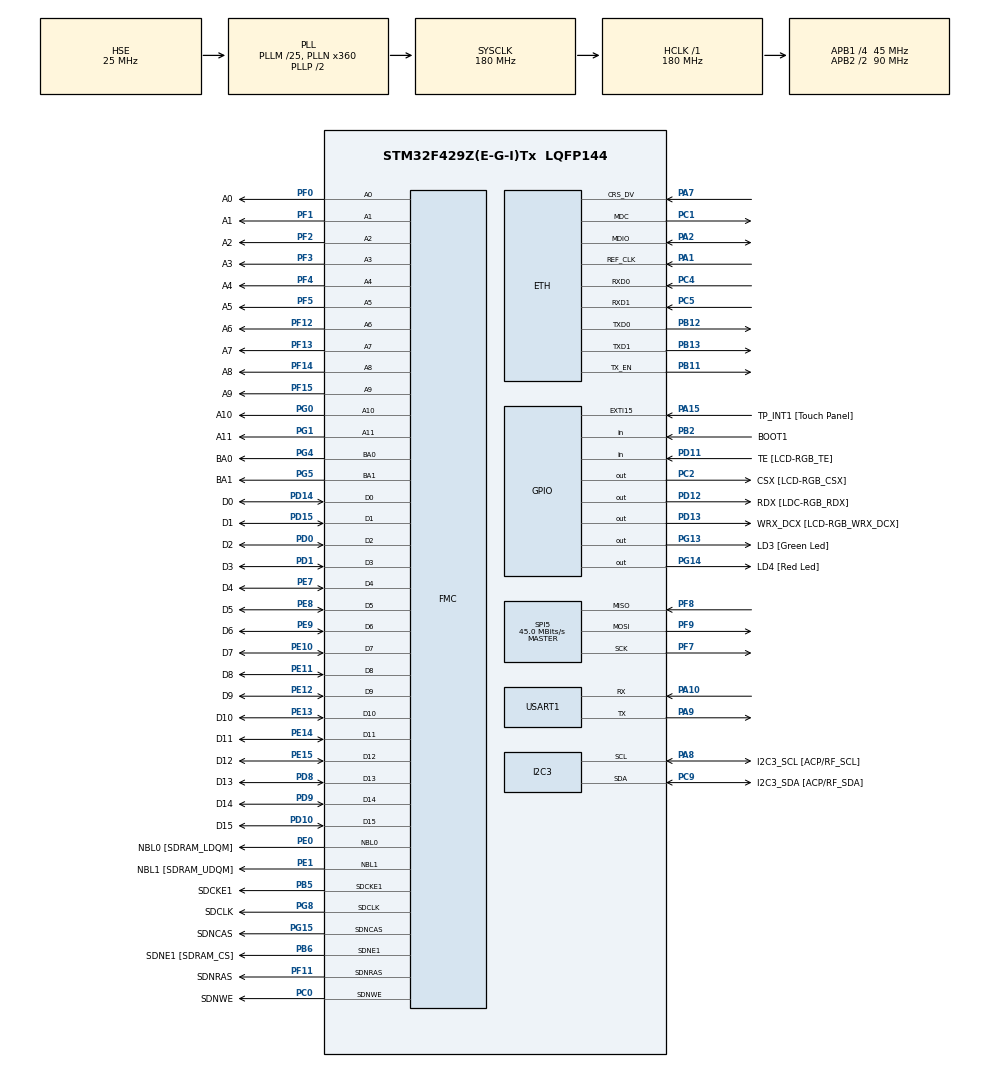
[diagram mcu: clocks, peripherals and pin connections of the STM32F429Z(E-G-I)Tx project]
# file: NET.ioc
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Dma.I2C3_RX.0.Direction=DMA_PERIPH_TO_MEMORY
Dma.I2C3_RX.0.FIFOMode=DMA_FIFOMODE_DISABLE
Dma.I2C3_RX.0.Instance=DMA1_Stream2
Dma.I2C3_RX.0.MemDataAlignment=DMA_MDATAALIGN_BYTE
Dma.I2C3_RX.0.MemInc=DMA_MINC_ENABLE
Dma.I2C3_RX.0.Mode=DMA_NORMAL
Dma.I2C3_RX.0.PeriphDataAlignment=DMA_PDATAALIGN_BYTE
Dma.I2C3_RX.0.PeriphInc=DMA_PINC_DISABLE
Dma.I2C3_RX.0.Priority=DMA_PRIORITY_VERY_HIGH
Dma.I2C3_TX.1.Direction=DMA_MEMORY_TO_PERIPH
Dma.I2C3_TX.1.FIFOMode=DMA_FIFOMODE_DISABLE
Dma.I2C3_TX.1.Instance=DMA1_Stream4
Dma.I2C3_TX.1.MemDataAlignment=DMA_MDATAALIGN_BYTE
Dma.I2C3_TX.1.MemInc=DMA_MINC_ENABLE
Dma.I2C3_TX.1.Mode=DMA_NORMAL
Dma.I2C3_TX.1.PeriphDataAlignment=DMA_PDATAALIGN_BYTE
Dma.I2C3_TX.1.PeriphInc=DMA_PINC_DISABLE
Dma.I2C3_TX.1.Priority=DMA_PRIORITY_VERY_HIGH
Dma.Request0=I2C3_RX
Dma.Request1=I2C3_TX
ETH.AutoNegotiation=ETH_AUTONEGOTIATION_ENABLE
ETH.ChecksumMode=ETH_CHECKSUM_BY_HARDWARE
ETH.MACAddr=02\:00\:00\:00\:00\:00
ETH.MediaInterface=ETH_MEDIA_INTERFACE_RMII
ETH.PHY_CONFIG_DELAY=0x00FFFFFF
ETH.PHY_DUPLEX_STATUS=0x0010
ETH.PHY_Name_RMII=userPHY
ETH.PHY_RESET_DELAY=0x00FFFFFF
ETH.PHY_SPEED_STATUS=0x0004
ETH.PHY_SR=0x1f
ETH.PHY_User_Name=LAN8720A_PHY_ADDRESS
LWIP.CHECKSUM_BY_HARDWARE=1
LWIP.CHECKSUM_GEN_ICMP=0
LWIP.GATEWAY_ADDRESS=192.168.001.001
LWIP.IP_ADDRESS=192.168.001.010
LWIP.LWIP_BROADCAST_PING=1
LWIP.LWIP_CHECKSUM_CTRL_PER_NETIF=0
LWIP.LWIP_DHCP=0
LWIP.LWIP_MULTICAST_PING=1
LWIP.LWIP_NETIF_LINK_CALLBACK=1
LWIP.LWIP_NETIF_STATUS_CALLBACK=1
LWIP.NETMASK_ADDRESS=255.255.255.000
LWIP.Version=v2.0.0_Cube
Mcu.Family=STM32F4
Mcu.Name=STM32F429Z(E-G-I)Tx
Mcu.Package=LQFP144
NVIC.DMA1_Stream2_IRQn=true\:0\:0\:false\:false\:true\:false
NVIC.DMA1_Stream4_IRQn=true\:0\:0\:false\:false\:true\:false
NVIC.PriorityGroup=NVIC_PRIORITYGROUP_2
PA1.Mode=RMII
PA1.Signal=ETH_REF_CLK
PA10.Mode=Asynchronous
PA10.Signal=USART1_RX
PA13.GPIO_Label=SWDIO
PA13.Mode=Serial_Wire
PA13.Signal=SYS_JTMS-SWDIO
PA14.GPIO_Label=SWCLK
PA14.Mode=Serial_Wire
PA14.Signal=SYS_JTCK-SWCLK
PA15.GPIO_Label=TP_INT1 [Touch Panel]
PA15.GPIO_ModeDefaultEXTI=GPIO_MODE_EVT_RISING
PA15.GPIO_PuPd=GPIO_NOPULL
PA15.Signal=GPXTI15
PA2.Mode=RMII
PA2.Signal=ETH_MDIO
PA7.Mode=RMII
PA7.Signal=ETH_CRS_DV
PA8.GPIO_Label=I2C3_SCL [ACP/RF_SCL]
PA8.GPIO_Mode=GPIO_MODE_AF_OD
PA8.GPIO_PuPd=GPIO_NOPULL
PA8.GPIO_Speed=GPIO_SPEED_FREQ_LOW
PA8.Mode=I2C
PA8.Signal=I2C3_SCL
PA9.Mode=Asynchronous
PA9.Signal=USART1_TX
PB11.Mode=RMII
PB11.Signal=ETH_TX_EN
PB12.Mode=RMII
PB12.Signal=ETH_TXD0
PB13.Mode=RMII
PB13.Signal=ETH_TXD1
PB2/BOOT1.GPIO_Label=BOOT1
PB2/BOOT1.GPIO_Mode=GPIO_MODE_INPUT
PB2/BOOT1.GPIO_PuPd=GPIO_NOPULL
PB2/BOOT1.Signal=GPIO_Input
PB5.GPIO_Label=SDCKE1
PB5.GPIO_Mode=GPIO_MODE_AF_PP
PB5.GPIO_PuPd=GPIO_NOPULL
PB5.GPIO_Speed=GPIO_SPEED_FREQ_VERY_HIGH
PB5.Mode=SdramChipSelect2_1
PB5.Signal=FMC_SDCKE1
PB6.GPIO_Label=SDNE1 [SDRAM_CS]
PB6.GPIO_Mode=GPIO_MODE_AF_PP
PB6.GPIO_PuPd=GPIO_NOPULL
PB6.GPIO_Speed=GPIO_SPEED_FREQ_VERY_HIGH
PB6.Mode=SdramChipSelect2_1
PB6.Signal=FMC_SDNE1
PC0.GPIO_Label=SDNWE
PC0.GPIO_Mode=GPIO_MODE_AF_PP
PC0.GPIO_PuPd=GPIO_NOPULL
PC0.GPIO_Speed=GPIO_SPEED_FREQ_VERY_HIGH
PC0.Signal=FMC_SDNWE
PC1.Mode=RMII
PC1.Signal=ETH_MDC
PC2.GPIO_Label=CSX [LCD-RGB_CSX]
PC2.GPIO_Mode=GPIO_MODE_OUTPUT_PP
PC2.GPIO_PuPd=GPIO_NOPULL
PC2.GPIO_Speed=GPIO_SPEED_FREQ_LOW
PC2.Signal=GPIO_Output
PC4.Mode=RMII
PC4.Signal=ETH_RXD0
PC5.Mode=RMII
PC5.Signal=ETH_RXD1
PC9.GPIO_Label=I2C3_SDA [ACP/RF_SDA]
PC9.GPIO_Mode=GPIO_MODE_AF_OD
PC9.GPIO_PuPd=GPIO_NOPULL
PC9.GPIO_Speed=GPIO_SPEED_FREQ_LOW
PC9.Mode=I2C
PC9.Signal=I2C3_SDA
PD0.GPIO_Label=D2
PD0.GPIO_Mode=GPIO_MODE_AF_PP
PD0.GPIO_PuPd=GPIO_NOPULL
PD0.GPIO_Speed=GPIO_SPEED_FREQ_VERY_HIGH
PD0.Signal=FMC_D2_DA2
PD1.GPIO_Label=D3
PD1.GPIO_Mode=GPIO_MODE_AF_PP
PD1.GPIO_PuPd=GPIO_NOPULL
PD1.GPIO_Speed=GPIO_SPEED_FREQ_VERY_HIGH
PD1.Signal=FMC_D3_DA3
PD10.GPIO_Label=D15
PD10.GPIO_Mode=GPIO_MODE_AF_PP
PD10.GPIO_PuPd=GPIO_NOPULL
PD10.GPIO_Speed=GPIO_SPEED_FREQ_VERY_HIGH
PD10.Signal=FMC_D15_DA15
PD11.GPIO_Label=TE [LCD-RGB_TE]
PD11.GPIO_Mode=GPIO_MODE_INPUT
PD11.GPIO_PuPd=GPIO_NOPULL
PD11.Signal=GPIO_Input
PD12.GPIO_Label=RDX [LDC-RGB_RDX]
PD12.GPIO_Mode=GPIO_MODE_OUTPUT_PP
PD12.GPIO_PuPd=GPIO_NOPULL
PD12.GPIO_Speed=GPIO_SPEED_FREQ_LOW
PD12.Signal=GPIO_Output
PD13.GPIO_Label=WRX_DCX [LCD-RGB_WRX_DCX]
PD13.GPIO_Mode=GPIO_MODE_OUTPUT_PP
PD13.GPIO_PuPd=GPIO_NOPULL
PD13.GPIO_Speed=GPIO_SPEED_FREQ_LOW
PD13.Signal=GPIO_Output
PD14.GPIO_Label=D0
PD14.GPIO_Mode=GPIO_MODE_AF_PP
PD14.GPIO_PuPd=GPIO_NOPULL
PD14.GPIO_Speed=GPIO_SPEED_FREQ_VERY_HIGH
PD14.Signal=FMC_D0_DA0
PD15.GPIO_Label=D1
PD15.GPIO_Mode=GPIO_MODE_AF_PP
PD15.GPIO_PuPd=GPIO_NOPULL
PD15.GPIO_Speed=GPIO_SPEED_FREQ_VERY_HIGH
PD15.Signal=FMC_D1_DA1
PD8.GPIO_Label=D13
PD8.GPIO_Mode=GPIO_MODE_AF_PP
PD8.GPIO_PuPd=GPIO_NOPULL
PD8.GPIO_Speed=GPIO_SPEED_FREQ_VERY_HIGH
PD8.Signal=FMC_D13_DA13
PD9.GPIO_Label=D14
PD9.GPIO_Mode=GPIO_MODE_AF_PP
PD9.GPIO_PuPd=GPIO_NOPULL
PD9.GPIO_Speed=GPIO_SPEED_FREQ_VERY_HIGH
PD9.Signal=FMC_D14_DA14
PE0.GPIO_Label=NBL0 [SDRAM_LDQM]
PE0.GPIO_Mode=GPIO_MODE_AF_PP
PE0.GPIO_PuPd=GPIO_NOPULL
PE0.GPIO_Speed=GPIO_SPEED_FREQ_VERY_HIGH
PE0.Signal=FMC_NBL0
PE1.GPIO_Label=NBL1 [SDRAM_UDQM]
PE1.GPIO_Mode=GPIO_MODE_AF_PP
PE1.GPIO_PuPd=GPIO_NOPULL
PE1.GPIO_Speed=GPIO_SPEED_FREQ_VERY_HIGH
PE1.Signal=FMC_NBL1
PE10.GPIO_Label=D7
PE10.GPIO_Mode=GPIO_MODE_AF_PP
PE10.GPIO_PuPd=GPIO_NOPULL
PE10.GPIO_Speed=GPIO_SPEED_FREQ_VERY_HIGH
PE10.Signal=FMC_D7_DA7
PE11.GPIO_Label=D8
PE11.GPIO_Mode=GPIO_MODE_AF_PP
PE11.GPIO_PuPd=GPIO_NOPULL
PE11.GPIO_Speed=GPIO_SPEED_FREQ_VERY_HIGH
PE11.Signal=FMC_D8_DA8
PE12.GPIO_Label=D9
PE12.GPIO_Mode=GPIO_MODE_AF_PP
PE12.GPIO_PuPd=GPIO_NOPULL
PE12.GPIO_Speed=GPIO_SPEED_FREQ_VERY_HIGH
PE12.Signal=FMC_D9_DA9
PE13.GPIO_Label=D10
PE13.GPIO_Mode=GPIO_MODE_AF_PP
PE13.GPIO_PuPd=GPIO_NOPULL
PE13.GPIO_Speed=GPIO_SPEED_FREQ_VERY_HIGH
PE13.Signal=FMC_D10_DA10
PE14.GPIO_Label=D11
PE14.GPIO_Mode=GPIO_MODE_AF_PP
PE14.GPIO_PuPd=GPIO_NOPULL
PE14.GPIO_Speed=GPIO_SPEED_FREQ_VERY_HIGH
PE14.Signal=FMC_D11_DA11
PE15.GPIO_Label=D12
PE15.GPIO_Mode=GPIO_MODE_AF_PP
PE15.GPIO_PuPd=GPIO_NOPULL
PE15.GPIO_Speed=GPIO_SPEED_FREQ_VERY_HIGH
PE15.Signal=FMC_D12_DA12
PE7.GPIO_Label=D4
PE7.GPIO_Mode=GPIO_MODE_AF_PP
PE7.GPIO_PuPd=GPIO_NOPULL
PE7.GPIO_Speed=GPIO_SPEED_FREQ_VERY_HIGH
PE7.Signal=FMC_D4_DA4
PE8.GPIO_Label=D5
PE8.GPIO_Mode=GPIO_MODE_AF_PP
PE8.GPIO_PuPd=GPIO_NOPULL
PE8.GPIO_Speed=GPIO_SPEED_FREQ_VERY_HIGH
PE8.Signal=FMC_D5_DA5
PE9.GPIO_Label=D6
PE9.GPIO_Mode=GPIO_MODE_AF_PP
PE9.GPIO_PuPd=GPIO_NOPULL
PE9.GPIO_Speed=GPIO_SPEED_FREQ_VERY_HIGH
PE9.Signal=FMC_D6_DA6
PF0.GPIO_Label=A0
PF0.GPIO_Mode=GPIO_MODE_AF_PP
PF0.GPIO_PuPd=GPIO_NOPULL
PF0.GPIO_Speed=GPIO_SPEED_FREQ_VERY_HIGH
PF0.Signal=FMC_A0
PF1.GPIO_Label=A1
PF1.GPIO_Mode=GPIO_MODE_AF_PP
PF1.GPIO_PuPd=GPIO_NOPULL
PF1.GPIO_Speed=GPIO_SPEED_FREQ_VERY_HIGH
PF1.Signal=FMC_A1
PF11.GPIO_Label=SDNRAS
PF11.GPIO_Mode=GPIO_MODE_AF_PP
PF11.GPIO_PuPd=GPIO_NOPULL
PF11.GPIO_Speed=GPIO_SPEED_FREQ_VERY_HIGH
PF11.Signal=FMC_SDNRAS
PF12.GPIO_Label=A6
PF12.GPIO_Mode=GPIO_MODE_AF_PP
PF12.GPIO_PuPd=GPIO_NOPULL
PF12.GPIO_Speed=GPIO_SPEED_FREQ_VERY_HIGH
PF12.Signal=FMC_A6
PF13.GPIO_Label=A7
PF13.GPIO_Mode=GPIO_MODE_AF_PP
PF13.GPIO_PuPd=GPIO_NOPULL
PF13.GPIO_Speed=GPIO_SPEED_FREQ_VERY_HIGH
PF13.Signal=FMC_A7
PF14.GPIO_Label=A8
PF14.GPIO_Mode=GPIO_MODE_AF_PP
PF14.GPIO_PuPd=GPIO_NOPULL
PF14.GPIO_Speed=GPIO_SPEED_FREQ_VERY_HIGH
PF14.Signal=FMC_A8
PF15.GPIO_Label=A9
PF15.GPIO_Mode=GPIO_MODE_AF_PP
PF15.GPIO_PuPd=GPIO_NOPULL
PF15.GPIO_Speed=GPIO_SPEED_FREQ_VERY_HIGH
PF15.Signal=FMC_A9
PF2.GPIO_Label=A2
PF2.GPIO_Mode=GPIO_MODE_AF_PP
PF2.GPIO_PuPd=GPIO_NOPULL
PF2.GPIO_Speed=GPIO_SPEED_FREQ_VERY_HIGH
PF2.Signal=FMC_A2
PF3.GPIO_Label=A3
PF3.GPIO_Mode=GPIO_MODE_AF_PP
PF3.GPIO_PuPd=GPIO_NOPULL
PF3.GPIO_Speed=GPIO_SPEED_FREQ_VERY_HIGH
PF3.Signal=FMC_A3
PF4.GPIO_Label=A4
PF4.GPIO_Mode=GPIO_MODE_AF_PP
PF4.GPIO_PuPd=GPIO_NOPULL
PF4.GPIO_Speed=GPIO_SPEED_FREQ_VERY_HIGH
PF4.Signal=FMC_A4
PF5.GPIO_Label=A5
PF5.GPIO_Mode=GPIO_MODE_AF_PP
PF5.GPIO_PuPd=GPIO_NOPULL
PF5.GPIO_Speed=GPIO_SPEED_FREQ_VERY_HIGH
PF5.Signal=FMC_A5
PF7.Mode=Full_Duplex_Master
PF7.Signal=SPI5_SCK
PF8.Mode=Full_Duplex_Master
PF8.Signal=SPI5_MISO
PF9.Mode=Full_Duplex_Master
PF9.Signal=SPI5_MOSI
PG0.GPIO_Label=A10
PG0.GPIO_Mode=GPIO_MODE_AF_PP
PG0.GPIO_PuPd=GPIO_NOPULL
PG0.GPIO_Speed=GPIO_SPEED_FREQ_VERY_HIGH
PG0.Signal=FMC_A10
PG1.GPIO_Label=A11
PG1.GPIO_Mode=GPIO_MODE_AF_PP
PG1.GPIO_PuPd=GPIO_NOPULL
PG1.GPIO_Speed=GPIO_SPEED_FREQ_VERY_HIGH
PG1.Signal=FMC_A11
PG13.GPIO_Label=LD3 [Green Led]
PG13.GPIO_Mode=GPIO_MODE_OUTPUT_PP
PG13.GPIO_PuPd=GPIO_NOPULL
PG13.GPIO_Speed=GPIO_SPEED_FREQ_LOW
PG13.Signal=GPIO_Output
PG14.GPIO_Label=LD4 [Red Led]
PG14.GPIO_Mode=GPIO_MODE_OUTPUT_PP
PG14.GPIO_PuPd=GPIO_NOPULL
PG14.GPIO_Speed=GPIO_SPEED_FREQ_LOW
PG14.Signal=GPIO_Output
PG15.GPIO_Label=SDNCAS
PG15.GPIO_Mode=GPIO_MODE_AF_PP
PG15.GPIO_PuPd=GPIO_NOPULL
PG15.GPIO_Speed=GPIO_SPEED_FREQ_VERY_HIGH
PG15.Signal=FMC_SDNCAS
PG4.GPIO_Label=BA0
PG4.GPIO_Mode=GPIO_MODE_AF_PP
PG4.GPIO_PuPd=GPIO_NOPULL
PG4.GPIO_Speed=GPIO_SPEED_FREQ_VERY_HIGH
PG4.Signal=FMC_A14_BA0
PG5.GPIO_Label=BA1
PG5.GPIO_Mode=GPIO_MODE_AF_PP
PG5.GPIO_PuPd=GPIO_NOPULL
PG5.GPIO_Speed=GPIO_SPEED_FREQ_VERY_HIGH
PG5.Signal=FMC_A15_BA1
PG8.GPIO_Label=SDCLK
PG8.GPIO_Mode=GPIO_MODE_AF_PP
PG8.GPIO_PuPd=GPIO_NOPULL
PG8.GPIO_Speed=GPIO_SPEED_FREQ_VERY_HIGH
PG8.Signal=FMC_SDCLK
PH0/OSC_IN.GPIO_Label=PH0-OSC_IN
PH0/OSC_IN.Mode=HSE-External-Oscillator
PH0/OSC_IN.Signal=RCC_OSC_IN
PH1/OSC_OUT.GPIO_Label=PH1-OSC_OUT
PH1/OSC_OUT.Mode=HSE-External-Oscillator
PH1/OSC_OUT.Signal=RCC_OSC_OUT
ProjectManager.HeapSize=0x1500
ProjectManager.StackSize=0x400
ProjectManager.TargetToolchain=MDK-ARM V5
RCC.48MHZClocksFreq_Value=51428571.428571425
RCC.AHBFreq_Value=180000000
RCC.APB1CLKDivider=RCC_HCLK_DIV4
RCC.APB1Freq_Value=45000000
RCC.APB1TimFreq_Value=90000000
RCC.APB2CLKDivider=RCC_HCLK_DIV2
RCC.APB2Freq_Value=90000000
RCC.APB2TimFreq_Value=180000000
RCC.CortexFreq_Value=180000000
RCC.HCLKFreq_Value=180000000
RCC.HSE_VALUE=25000000
RCC.HSI_VALUE=16000000
RCC.LSE_VALUE=32768
RCC.PLLM=25
RCC.PLLN=360
RCC.PLLQ=7
RCC.PLLSAIN=260
RCC.PLLSourceVirtual=RCC_PLLSOURCE_HSE
RCC.SYSCLKFreq_VALUE=180000000
RCC.SYSCLKSource=RCC_SYSCLKSOURCE_PLLCLK
RCC.VCOOutputFreq_Value=360000000
SH.FMC_A0.0=FMC_A0,12b-sda1
SH.FMC_A1.0=FMC_A1,12b-sda1
SH.FMC_A10.0=FMC_A10,12b-sda1
SH.FMC_A11.0=FMC_A11,12b-sda1
SH.FMC_A14_BA0.0=FMC_BA0,FourSdramBanks1
SH.FMC_A15_BA1.0=FMC_BA1,FourSdramBanks1
SH.FMC_A2.0=FMC_A2,12b-sda1
SH.FMC_A3.0=FMC_A3,12b-sda1
SH.FMC_A4.0=FMC_A4,12b-sda1
SH.FMC_A5.0=FMC_A5,12b-sda1
SH.FMC_A6.0=FMC_A6,12b-sda1
SH.FMC_A7.0=FMC_A7,12b-sda1
SH.FMC_A8.0=FMC_A8,12b-sda1
SH.FMC_A9.0=FMC_A9,12b-sda1
SH.FMC_D0_DA0.0=FMC_D0,sd-16b-d1
SH.FMC_D10_DA10.0=FMC_D10,sd-16b-d1
SH.FMC_D11_DA11.0=FMC_D11,sd-16b-d1
SH.FMC_D12_DA12.0=FMC_D12,sd-16b-d1
SH.FMC_D13_DA13.0=FMC_D13,sd-16b-d1
SH.FMC_D14_DA14.0=FMC_D14,sd-16b-d1
SH.FMC_D15_DA15.0=FMC_D15,sd-16b-d1
SH.FMC_D1_DA1.0=FMC_D1,sd-16b-d1
SH.FMC_D2_DA2.0=FMC_D2,sd-16b-d1
SH.FMC_D3_DA3.0=FMC_D3,sd-16b-d1
SH.FMC_D4_DA4.0=FMC_D4,sd-16b-d1
SH.FMC_D5_DA5.0=FMC_D5,sd-16b-d1
SH.FMC_D6_DA6.0=FMC_D6,sd-16b-d1
SH.FMC_D7_DA7.0=FMC_D7,sd-16b-d1
SH.FMC_D8_DA8.0=FMC_D8,sd-16b-d1
SH.FMC_D9_DA9.0=FMC_D9,sd-16b-d1
SH.FMC_NBL0.0=FMC_NBL0,Sd2ByteEnable1
SH.FMC_NBL1.0=FMC_NBL1,Sd2ByteEnable1
SH.FMC_SDCLK.0=FMC_SDCLK,12b-sda1
SH.FMC_SDNCAS.0=FMC_SDNCAS,12b-sda1
SH.FMC_SDNRAS.0=FMC_SDNRAS,12b-sda1
SH.FMC_SDNWE.0=FMC_SDNWE,12b-sda1
SPI5.BaudRatePrescaler=SPI_BAUDRATEPRESCALER_2
SPI5.CalculateBaudRate=45.0 MBits/s
SPI5.Direction=SPI_DIRECTION_2LINES
SPI5.Mode=SPI_MODE_MASTER
SPI5.VirtualType=VM_MASTER
USART1.VirtualMode=VM_ASYNC
VP_CRC_VS_CRC.Mode=CRC_Activate
VP_LWIP_VS_Enabled.Mode=Enabled
VP_TIM2_VS_ClockSourceITR.Mode=TriggerSource_ITR1
board=STM32F429I-DISC1

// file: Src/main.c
/**
  ******************************************************************************
  * File Name          : main.c
  * Description        : Main program body
  ******************************************************************************
  * This notice applies to any and all portions of this file
  * that are not between comment pairs USER CODE BEGIN and
  * USER CODE END. Other portions of this file, whether
  * inserted by the user or by software development tools
  * are owned by their respective copyright owners.
  *
  * Copyright (c) 2017 STMicroelectronics International N.V.
  * All rights reserved.
  *
  * Redistribution and use in source and binary forms, with or without
  * modification, are permitted, provided that the following conditions are met:
  *
  * 1. Redistribution of source code must retain the above copyright notice,
  *    this list of conditions and the following disclaimer.
  * 2. Redistributions in binary form must reproduce the above copyright notice,
  *    this list of conditions and the following disclaimer in the documentation
  *    and/or other materials provided with the distribution.
  * 3. Neither the name of STMicroelectronics nor the names of other
  *    contributors to this software may be used to endorse or promote products
  *    derived from this software without specific written permission.
  * 4. This software, including modifications and/or derivative works of this
  *    software, must execute solely and exclusively on microcontroller or
  *    microprocessor devices manufactured by or for STMicroelectronics.
  * 5. Redistribution and use of this software other than as permitted under
  *    this license is void and will automatically terminate your rights under
  *    this license.
  *
  * THIS SOFTWARE IS PROVIDED BY STMICROELECTRONICS AND CONTRIBUTORS "AS IS"
  * AND ANY EXPRESS, IMPLIED OR STATUTORY WARRANTIES, INCLUDING, BUT NOT
  * LIMITED TO, THE IMPLIED WARRANTIES OF MERCHANTABILITY, FITNESS FOR A
  * PARTICULAR PURPOSE AND NON-INFRINGEMENT OF THIRD PARTY INTELLECTUAL PROPERTY
  * RIGHTS ARE DISCLAIMED TO THE FULLEST EXTENT PERMITTED BY LAW. IN NO EVENT
  * SHALL STMICROELECTRONICS OR CONTRIBUTORS BE LIABLE FOR ANY DIRECT, INDIRECT,
  * INCIDENTAL, SPECIAL, EXEMPLARY, OR CONSEQUENTIAL DAMAGES (INCLUDING, BUT NOT
  * LIMITED TO, PROCUREMENT OF SUBSTITUTE GOODS OR SERVICES; LOSS OF USE, DATA,
  * OR PROFITS; OR BUSINESS INTERRUPTION) HOWEVER CAUSED AND ON ANY THEORY OF
  * LIABILITY, WHETHER IN CONTRACT, STRICT LIABILITY, OR TORT (INCLUDING
  * NEGLIGENCE OR OTHERWISE) ARISING IN ANY WAY OUT OF THE USE OF THIS SOFTWARE,
  * EVEN IF ADVISED OF THE POSSIBILITY OF SUCH DAMAGE.
  *
  ******************************************************************************
  */
#include "main.h"
#include "stm32f4xx_hal.h"
#include "lwip.h"

/* USER CODE BEGIN Includes */
#include <stdio.h>
#include "stm32f429i_discovery.h"
#include "tcp_echoserver.c"
/* USER CODE END Includes */

CRC_HandleTypeDef hcrc;

I2C_HandleTypeDef hi2c3;
DMA_HandleTypeDef hdma_i2c3_rx;
DMA_HandleTypeDef hdma_i2c3_tx;

SPI_HandleTypeDef hspi5;

TIM_HandleTypeDef htim2;

UART_HandleTypeDef huart1;

SDRAM_HandleTypeDef hsdram1;

/* USER CODE BEGIN PV */
/* Private variables ---------------------------------------------------------*/
/* USER CODE END PV */

void SystemClock_Config(void);
static void MX_GPIO_Init(void);
static void MX_DMA_Init(void);
static void MX_FMC_Init(void);
static void MX_I2C3_Init(void);
static void MX_SPI5_Init(void);
static void MX_CRC_Init(void);
static void MX_TIM2_Init(void);
static void MX_USART1_UART_Init(void);

/* USER CODE BEGIN PFP */
/* Private function prototypes -----------------------------------------------*/
#ifdef __GNU__
	#define PUTCHAR_PROTOTYPE int __io_putchar(int ch)
#else
	#define PUTCHAR_PROTOTYPE int fputc(int ch, FILE *f)
#endif

PUTCHAR_PROTOTYPE
{
  /* Write a character to the USART */
  HAL_UART_Transmit(&huart1, (uint8_t*)&ch, 1, 100);
  return ch;
}

int print(char *string);
/* USER CODE END PFP */

int main(void)
{

  /* MCU Configuration----------------------------------------------------------*/

  /* Reset of all peripherals, Initializes the Flash interface and the Systick. */
  HAL_Init();

  /* Configure the system clock */
  SystemClock_Config();

  /* Initialize all configured peripherals */
  MX_GPIO_Init();
  MX_DMA_Init();
  MX_FMC_Init();
  MX_I2C3_Init();
  MX_LWIP_Init();
  MX_SPI5_Init();
  MX_CRC_Init();
  MX_TIM2_Init();
  MX_USART1_UART_Init();

  /* USER CODE BEGIN 2 */
  tcp_echoserver_init();
  /* USER CODE END 2 */

  /* Infinite loop */
  while (1)
  {

  /* USER CODE BEGIN 3 */
		print("Hello\n\r");
  	HAL_Delay(200);
		MX_LWIP_Process();
  }
  /* USER CODE END 3 */

}

/** System Clock Configuration
*/
void SystemClock_Config(void)
{

  RCC_OscInitTypeDef RCC_OscInitStruct;
  RCC_ClkInitTypeDef RCC_ClkInitStruct;

    /**Configure the main internal regulator output voltage
    */
  __HAL_RCC_PWR_CLK_ENABLE();

  __HAL_PWR_VOLTAGESCALING_CONFIG(PWR_REGULATOR_VOLTAGE_SCALE1);

    /**Initializes the CPU, AHB and APB busses clocks
    */
  RCC_OscInitStruct.OscillatorType = RCC_OSCILLATORTYPE_HSE;
  RCC_OscInitStruct.HSEState = RCC_HSE_ON;
  RCC_OscInitStruct.PLL.PLLState = RCC_PLL_ON;
  RCC_OscInitStruct.PLL.PLLSource = RCC_PLLSOURCE_HSE;
  RCC_OscInitStruct.PLL.PLLM = 25;
  RCC_OscInitStruct.PLL.PLLN = 360;
  RCC_OscInitStruct.PLL.PLLP = RCC_PLLP_DIV2;
  RCC_OscInitStruct.PLL.PLLQ = 7;
  if (HAL_RCC_OscConfig(&RCC_OscInitStruct) != HAL_OK)
  {
    _Error_Handler(__FILE__, __LINE__);
  }

    /**Activate the Over-Drive mode
    */
  if (HAL_PWREx_EnableOverDrive() != HAL_OK)
  {
    _Error_Handler(__FILE__, __LINE__);
  }

    /**Initializes the CPU, AHB and APB busses clocks
    */
  RCC_ClkInitStruct.ClockType = RCC_CLOCKTYPE_HCLK|RCC_CLOCKTYPE_SYSCLK
                              |RCC_CLOCKTYPE_PCLK1|RCC_CLOCKTYPE_PCLK2;
  RCC_ClkInitStruct.SYSCLKSource = RCC_SYSCLKSOURCE_PLLCLK;
  RCC_ClkInitStruct.AHBCLKDivider = RCC_SYSCLK_DIV1;
  RCC_ClkInitStruct.APB1CLKDivider = RCC_HCLK_DIV4;
  RCC_ClkInitStruct.APB2CLKDivider = RCC_HCLK_DIV2;

  if (HAL_RCC_ClockConfig(&RCC_ClkInitStruct, FLASH_LATENCY_5) != HAL_OK)
  {
    _Error_Handler(__FILE__, __LINE__);
  }

    /**Configure the Systick interrupt time
    */
  HAL_SYSTICK_Config(HAL_RCC_GetHCLKFreq()/1000);

    /**Configure the Systick
    */
  HAL_SYSTICK_CLKSourceConfig(SYSTICK_CLKSOURCE_HCLK);

  /* SysTick_IRQn interrupt configuration */
  HAL_NVIC_SetPriority(SysTick_IRQn, 0, 0);
}

/* CRC init function */
static void MX_CRC_Init(void)
{

  hcrc.Instance = CRC;
  if (HAL_CRC_Init(&hcrc) != HAL_OK)
  {
    _Error_Handler(__FILE__, __LINE__);
  }

}

/* I2C3 init function */
static void MX_I2C3_Init(void)
{

  hi2c3.Instance = I2C3;
  hi2c3.Init.ClockSpeed = 100000;
  hi2c3.Init.DutyCycle = I2C_DUTYCYCLE_2;
  hi2c3.Init.OwnAddress1 = 0;
  hi2c3.Init.AddressingMode = I2C_ADDRESSINGMODE_7BIT;
  hi2c3.Init.DualAddressMode = I2C_DUALADDRESS_DISABLE;
  hi2c3.Init.OwnAddress2 = 0;
  hi2c3.Init.GeneralCallMode = I2C_GENERALCALL_DISABLE;
  hi2c3.Init.NoStretchMode = I2C_NOSTRETCH_DISABLE;
  if (HAL_I2C_Init(&hi2c3) != HAL_OK)
  {
    _Error_Handler(__FILE__, __LINE__);
  }

}

/* SPI5 init function */
static void MX_SPI5_Init(void)
{

  /* SPI5 parameter configuration*/
  hspi5.Instance = SPI5;
  hspi5.Init.Mode = SPI_MODE_MASTER;
  hspi5.Init.Direction = SPI_DIRECTION_2LINES;
  hspi5.Init.DataSize = SPI_DATASIZE_8BIT;
  hspi5.Init.CLKPolarity = SPI_POLARITY_LOW;
  hspi5.Init.CLKPhase = SPI_PHASE_1EDGE;
  hspi5.Init.NSS = SPI_NSS_SOFT;
  hspi5.Init.BaudRatePrescaler = SPI_BAUDRATEPRESCALER_2;
  hspi5.Init.FirstBit = SPI_FIRSTBIT_MSB;
  hspi5.Init.TIMode = SPI_TIMODE_DISABLE;
  hspi5.Init.CRCCalculation = SPI_CRCCALCULATION_DISABLE;
  hspi5.Init.CRCPolynomial = 10;
  if (HAL_SPI_Init(&hspi5) != HAL_OK)
  {
    _Error_Handler(__FILE__, __LINE__);
  }

}

/* TIM2 init function */
static void MX_TIM2_Init(void)
{

  TIM_SlaveConfigTypeDef sSlaveConfig;
  TIM_MasterConfigTypeDef sMasterConfig;

  htim2.Instance = TIM2;
  htim2.Init.Prescaler = 0;
  htim2.Init.CounterMode = TIM_COUNTERMODE_UP;
  htim2.Init.Period = 0;
  htim2.Init.ClockDivision = TIM_CLOCKDIVISION_DIV1;
  if (HAL_TIM_Base_Init(&htim2) != HAL_OK)
  {
    _Error_Handler(__FILE__, __LINE__);
  }

  sSlaveConfig.SlaveMode = TIM_SLAVEMODE_DISABLE;
  sSlaveConfig.InputTrigger = TIM_TS_ITR1;
  if (HAL_TIM_SlaveConfigSynchronization(&htim2, &sSlaveConfig) != HAL_OK)
  {
    _Error_Handler(__FILE__, __LINE__);
  }

  sMasterConfig.MasterOutputTrigger = TIM_TRGO_RESET;
  sMasterConfig.MasterSlaveMode = TIM_MASTERSLAVEMODE_DISABLE;
  if (HAL_TIMEx_MasterConfigSynchronization(&htim2, &sMasterConfig) != HAL_OK)
  {
    _Error_Handler(__FILE__, __LINE__);
  }

}

/* USART1 init function */
static void MX_USART1_UART_Init(void)
{

  huart1.Instance = USART1;
  huart1.Init.BaudRate = 115200;
  huart1.Init.WordLength = UART_WORDLENGTH_8B;
  huart1.Init.StopBits = UART_STOPBITS_1;
  huart1.Init.Parity = UART_PARITY_NONE;
  huart1.Init.Mode = UART_MODE_TX_RX;
  huart1.Init.HwFlowCtl = UART_HWCONTROL_NONE;
  huart1.Init.OverSampling = UART_OVERSAMPLING_16;
  if (HAL_UART_Init(&huart1) != HAL_OK)
  {
    _Error_Handler(__FILE__, __LINE__);
  }

}

static void MX_DMA_Init(void)
{
  /* DMA controller clock enable */
  __HAL_RCC_DMA1_CLK_ENABLE();

  /* DMA interrupt init */
  /* DMA1_Stream2_IRQn interrupt configuration */
  HAL_NVIC_SetPriority(DMA1_Stream2_IRQn, 0, 0);
  HAL_NVIC_EnableIRQ(DMA1_Stream2_IRQn);
  /* DMA1_Stream4_IRQn interrupt configuration */
  HAL_NVIC_SetPriority(DMA1_Stream4_IRQn, 0, 0);
  HAL_NVIC_EnableIRQ(DMA1_Stream4_IRQn);

}
/* FMC initialization function */
static void MX_FMC_Init(void)
{
  FMC_SDRAM_TimingTypeDef SdramTiming;

  /** Perform the SDRAM1 memory initialization sequence
  */
  hsdram1.Instance = FMC_SDRAM_DEVICE;
  /* hsdram1.Init */
  hsdram1.Init.SDBank = FMC_SDRAM_BANK2;
  hsdram1.Init.ColumnBitsNumber = FMC_SDRAM_COLUMN_BITS_NUM_8;
  hsdram1.Init.RowBitsNumber = FMC_SDRAM_ROW_BITS_NUM_12;
  hsdram1.Init.MemoryDataWidth = FMC_SDRAM_MEM_BUS_WIDTH_16;
  hsdram1.Init.InternalBankNumber = FMC_SDRAM_INTERN_BANKS_NUM_4;
  hsdram1.Init.CASLatency = FMC_SDRAM_CAS_LATENCY_1;
  hsdram1.Init.WriteProtection = FMC_SDRAM_WRITE_PROTECTION_DISABLE;
  hsdram1.Init.SDClockPeriod = FMC_SDRAM_CLOCK_DISABLE;
  hsdram1.Init.ReadBurst = FMC_SDRAM_RBURST_DISABLE;
  hsdram1.Init.ReadPipeDelay = FMC_SDRAM_RPIPE_DELAY_0;
  /* SdramTiming */
  SdramTiming.LoadToActiveDelay = 16;
  SdramTiming.ExitSelfRefreshDelay = 16;
  SdramTiming.SelfRefreshTime = 16;
  SdramTiming.RowCycleDelay = 16;
  SdramTiming.WriteRecoveryTime = 16;
  SdramTiming.RPDelay = 16;
  SdramTiming.RCDDelay = 16;

  if (HAL_SDRAM_Init(&hsdram1, &SdramTiming) != HAL_OK)
  {
    _Error_Handler(__FILE__, __LINE__);
  }

}

/** Configure pins as
        * Analog
        * Input
        * Output
        * EVENT_OUT
        * EXTI
        * Free pins are configured automatically as Analog (this feature is enabled through
        * the Code Generation settings)
*/
static void MX_GPIO_Init(void)
{

  GPIO_InitTypeDef GPIO_InitStruct;

  /* GPIO Ports Clock Enable */
  __HAL_RCC_GPIOE_CLK_ENABLE();
  __HAL_RCC_GPIOC_CLK_ENABLE();
  __HAL_RCC_GPIOF_CLK_ENABLE();
  __HAL_RCC_GPIOH_CLK_ENABLE();
  __HAL_RCC_GPIOA_CLK_ENABLE();
  __HAL_RCC_GPIOB_CLK_ENABLE();
  __HAL_RCC_GPIOG_CLK_ENABLE();
  __HAL_RCC_GPIOD_CLK_ENABLE();

  /*Configure GPIO pin Output Level */
  HAL_GPIO_WritePin(CSX_GPIO_Port, CSX_Pin, GPIO_PIN_RESET);

  /*Configure GPIO pin Output Level */
  HAL_GPIO_WritePin(GPIOD, RDX_Pin|WRX_DCX_Pin, GPIO_PIN_RESET);

  /*Configure GPIO pin Output Level */
  HAL_GPIO_WritePin(GPIOG, LD3_Pin|LD4_Pin, GPIO_PIN_RESET);

  /*Configure GPIO pins : PE2 PE3 PE4 PE5
                           PE6 */
  GPIO_InitStruct.Pin = GPIO_PIN_2|GPIO_PIN_3|GPIO_PIN_4|GPIO_PIN_5
                          |GPIO_PIN_6;
  GPIO_InitStruct.Mode = GPIO_MODE_ANALOG;
  GPIO_InitStruct.Pull = GPIO_NOPULL;
  HAL_GPIO_Init(GPIOE, &GPIO_InitStruct);

  /*Configure GPIO pins : PC13 PC14 PC15 PC3
                           PC6 PC7 PC8 PC10
                           PC11 PC12 */
  GPIO_InitStruct.Pin = GPIO_PIN_13|GPIO_PIN_14|GPIO_PIN_15|GPIO_PIN_3
                          |GPIO_PIN_6|GPIO_PIN_7|GPIO_PIN_8|GPIO_PIN_10
                          |GPIO_PIN_11|GPIO_PIN_12;
  GPIO_InitStruct.Mode = GPIO_MODE_ANALOG;
  GPIO_InitStruct.Pull = GPIO_NOPULL;
  HAL_GPIO_Init(GPIOC, &GPIO_InitStruct);

  /*Configure GPIO pins : PF6 PF10 */
  GPIO_InitStruct.Pin = GPIO_PIN_6|GPIO_PIN_10;
  GPIO_InitStruct.Mode = GPIO_MODE_ANALOG;
  GPIO_InitStruct.Pull = GPIO_NOPULL;
  HAL_GPIO_Init(GPIOF, &GPIO_InitStruct);

  /*Configure GPIO pin : CSX_Pin */
  GPIO_InitStruct.Pin = CSX_Pin;
  GPIO_InitStruct.Mode = GPIO_MODE_OUTPUT_PP;
  GPIO_InitStruct.Pull = GPIO_NOPULL;
  GPIO_InitStruct.Speed = GPIO_SPEED_FREQ_LOW;
  HAL_GPIO_Init(CSX_GPIO_Port, &GPIO_InitStruct);

  /*Configure GPIO pins : PA0 PA3 PA4 PA5
                           PA6 PA11 PA12 */
  GPIO_InitStruct.Pin = GPIO_PIN_0|GPIO_PIN_3|GPIO_PIN_4|GPIO_PIN_5
                          |GPIO_PIN_6|GPIO_PIN_11|GPIO_PIN_12;
  GPIO_InitStruct.Mode = GPIO_MODE_ANALOG;
  GPIO_InitStruct.Pull = GPIO_NOPULL;
  HAL_GPIO_Init(GPIOA, &GPIO_InitStruct);

  /*Configure GPIO pins : PB0 PB1 PB10 PB14
                           PB15 PB3 PB4 PB7
                           PB8 PB9 */
  GPIO_InitStruct.Pin = GPIO_PIN_0|GPIO_PIN_1|GPIO_PIN_10|GPIO_PIN_14
                          |GPIO_PIN_15|GPIO_PIN_3|GPIO_PIN_4|GPIO_PIN_7
                          |GPIO_PIN_8|GPIO_PIN_9;
  GPIO_InitStruct.Mode = GPIO_MODE_ANALOG;
  GPIO_InitStruct.Pull = GPIO_NOPULL;
  HAL_GPIO_Init(GPIOB, &GPIO_InitStruct);

  /*Configure GPIO pin : BOOT1_Pin */
  GPIO_InitStruct.Pin = BOOT1_Pin;
  GPIO_InitStruct.Mode = GPIO_MODE_INPUT;
  GPIO_InitStruct.Pull = GPIO_NOPULL;
  HAL_GPIO_Init(BOOT1_GPIO_Port, &GPIO_InitStruct);

  /*Configure GPIO pin : TE_Pin */
  GPIO_InitStruct.Pin = TE_Pin;
  GPIO_InitStruct.Mode = GPIO_MODE_INPUT;
  GPIO_InitStruct.Pull = GPIO_NOPULL;
  HAL_GPIO_Init(TE_GPIO_Port, &GPIO_InitStruct);

  /*Configure GPIO pins : RDX_Pin WRX_DCX_Pin */
  GPIO_InitStruct.Pin = RDX_Pin|WRX_DCX_Pin;
  GPIO_InitStruct.Mode = GPIO_MODE_OUTPUT_PP;
  GPIO_InitStruct.Pull = GPIO_NOPULL;
  GPIO_InitStruct.Speed = GPIO_SPEED_FREQ_LOW;
  HAL_GPIO_Init(GPIOD, &GPIO_InitStruct);

  /*Configure GPIO pins : PG2 PG3 PG6 PG7
                           PG9 PG10 PG11 PG12 */
  GPIO_InitStruct.Pin = GPIO_PIN_2|GPIO_PIN_3|GPIO_PIN_6|GPIO_PIN_7
                          |GPIO_PIN_9|GPIO_PIN_10|GPIO_PIN_11|GPIO_PIN_12;
  GPIO_InitStruct.Mode = GPIO_MODE_ANALOG;
  GPIO_InitStruct.Pull = GPIO_NOPULL;
  HAL_GPIO_Init(GPIOG, &GPIO_InitStruct);

  /*Configure GPIO pin : TP_INT1_Pin */
  GPIO_InitStruct.Pin = TP_INT1_Pin;
  GPIO_InitStruct.Mode = GPIO_MODE_EVT_RISING;
  GPIO_InitStruct.Pull = GPIO_NOPULL;
  HAL_GPIO_Init(TP_INT1_GPIO_Port, &GPIO_InitStruct);

  /*Configure GPIO pins : PD2 PD3 PD4 PD5
                           PD6 PD7 */
  GPIO_InitStruct.Pin = GPIO_PIN_2|GPIO_PIN_3|GPIO_PIN_4|GPIO_PIN_5
                          |GPIO_PIN_6|GPIO_PIN_7;
  GPIO_InitStruct.Mode = GPIO_MODE_ANALOG;
  GPIO_InitStruct.Pull = GPIO_NOPULL;
  HAL_GPIO_Init(GPIOD, &GPIO_InitStruct);

  /*Configure GPIO pins : LD3_Pin LD4_Pin */
  GPIO_InitStruct.Pin = LD3_Pin|LD4_Pin;
  GPIO_InitStruct.Mode = GPIO_MODE_OUTPUT_PP;
  GPIO_InitStruct.Pull = GPIO_NOPULL;
  GPIO_InitStruct.Speed = GPIO_SPEED_FREQ_LOW;
  HAL_GPIO_Init(GPIOG, &GPIO_InitStruct);

}

/* USER CODE BEGIN 4 */
void Toggle_Leds(void)
{
  static int ticks = 0;

  if(ticks++ > 500)
  {
    BSP_LED_Toggle(LED3);
    BSP_LED_Toggle(LED4);
    ticks = 0;
  }
}

int print(char *string)
{
	int i = 0;
	uint8_t ch = (uint8_t)*(string+i);
	while (ch != 0) {
		HAL_UART_Transmit(&huart1, &ch, 1, 100);
		i+=1;
		ch = (uint8_t)*(string+i);
	}
	return 0;
}
/* USER CODE END 4 */

void _Error_Handler(char * file, int line)
{
  while(1)
  {
  }
}

/************************ (C) COPYRIGHT STMicroelectronics *****END OF FILE****/
